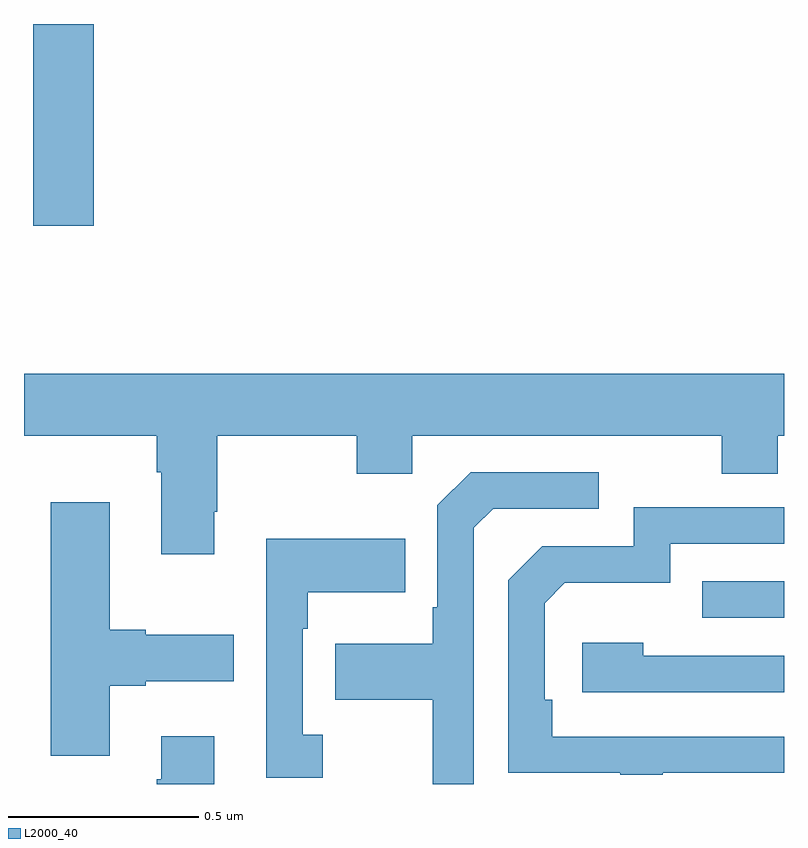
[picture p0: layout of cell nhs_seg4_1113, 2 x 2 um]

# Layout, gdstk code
import gdstk
lib = gdstk.Library(unit=1e-6, precision=1e-09)
def R(c, l, rs):  # rectangles x0, y0, x1, y1
    for r in rs: c.add(gdstk.rectangle(r[:2], r[2:], *l))
def P(c, l, *ps):  # polygons
    for p in ps: c.add(gdstk.Polygon(p, *l))
L2000_40 = (2000, 40)

nhs_seg4_1113 = lib.new_cell('nhs_seg4_1113')
R(nhs_seg4_1113, L2000_40, [(125.785,800.337,126,800.433), (124.024,801.369,124.184,801.9)])
P(nhs_seg4_1113, L2000_40, [(124.501,800.617),(124.509,800.617),(124.509,800.816),(124.876,800.816),(124.876,800.717),(125.022,800.717),(125.022,800.816),(125.836,800.816),(125.836,800.717),(125.983,800.717),(125.983,800.816),(126,800.816),(126,800.98),(124,800.98),(124,800.816),(124.349,800.816),(124.349,800.72),(124.361,800.72),(124.361,800.505),(124.501,800.505)],
  [(125.184,800.574),(125.235,800.625),(125.512,800.625),(125.512,800.721),(125.175,800.721),(125.088,800.634),(125.088,800.365),(125.076,800.365),(125.076,800.269),(124.819,800.269),(124.819,800.122),(125.076,800.122),(125.076,799.9),(125.184,799.9)],
  [(124.225,800.159),(124.321,800.159),(124.321,800.171),(124.552,800.171),(124.552,800.293),(124.321,800.293),(124.321,800.306),(124.225,800.306),(124.225,800.641),(124.07,800.641),(124.07,799.974),(124.225,799.974)],
  [(125.681,799.929),(126,799.929),(126,800.025),(125.39,800.025),(125.39,800.122),(125.37,800.122),(125.37,800.376),(125.423,800.429),(125.7,800.429),(125.7,800.532),(126,800.532),(126,800.628),(125.604,800.628),(125.604,800.526),(125.364,800.526),(125.274,800.436),(125.274,799.929),(125.569,799.929),(125.569,799.924),(125.681,799.924)],
  [(124.786,800.03),(124.734,800.03),(124.734,800.309),(124.747,800.309),(124.747,800.405),(125.003,800.405),(125.003,800.545),(124.638,800.545),(124.638,799.917),(124.786,799.917)],
  [(126,800.238),(125.63,800.238),(125.63,800.272),(125.469,800.272),(125.469,800.142),(126,800.142)],
  [(124.501,800.026),(124.361,800.026),(124.361,799.913),(124.349,799.913),(124.349,799.9),(124.501,799.9)])

lib.write_gds('nhs_seg4_1113.gds')
